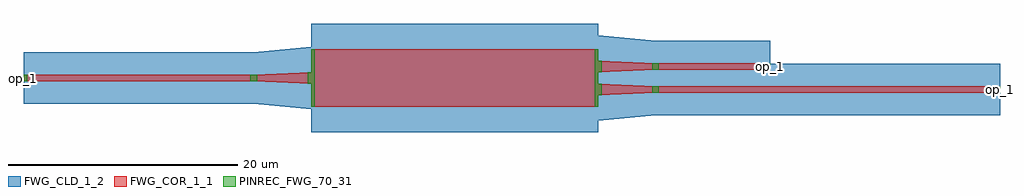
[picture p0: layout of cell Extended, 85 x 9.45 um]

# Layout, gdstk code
from math import pi, radians
import gdstk
lib = gdstk.Library(unit=1e-6, precision=1e-09)
def R(c, l, rs):  # rectangles x0, y0, x1, y1
    for r in rs: c.add(gdstk.rectangle(r[:2], r[2:], *l))
def P(c, l, *ps):  # polygons
    for p in ps: c.add(gdstk.Polygon(p, *l))
FWG_COR_1_1 = (1, 1)
FWG_CLD_1_2 = (1, 2)
PINREC_FWG_70_31 = (70, 31)

wg_x3 = lib.new_cell('wg_x3')
R(wg_x3, FWG_COR_1_1, [(0,-2.5,25,2.5)])
P(wg_x3, FWG_CLD_1_2, [(0,4.725),(25,4.725),(25,2.5),(25,-2.5),(25,-4.725),(0,-4.725),(0,-2.5),(0,2.5)])
R(wg_x3, PINREC_FWG_70_31, [(0,-2.5,0.3,2.5), (24.7,-2.5,25,2.5)])
wg_x3.add(gdstk.Label('op_0', (0,0), layer=70, texttype=41))
wg_x3.add(gdstk.Label('op_1', (25,0), layer=70, texttype=41))

straight_x2 = lib.new_cell('Straight_x2')
R(straight_x2, PINREC_FWG_70_31, [(0,-2.5,0.3,2.5), (24.7,-2.5,25,2.5)])
straight_x2.add(gdstk.Reference(wg_x3, (0,0)))
straight_x2.add(gdstk.Label('op_0', (0,0), layer=70, texttype=41))
straight_x2.add(gdstk.Label('op_1', (25,0), layer=70, texttype=41))

wg_x1 = lib.new_cell('wg_x1')
P(wg_x1, FWG_COR_1_1, [(-5,0.275),(0,0.5),(0,-0.5),(-5,-0.275)])
P(wg_x1, FWG_CLD_1_2, [(-5,2.225),(0,2.725),(0,0.5),(0,-0.5),(0,-2.725),(-5,-2.225),(-5,-0.275),(-5,0.275)])
R(wg_x1, PINREC_FWG_70_31, [(-0.3,-0.5,0,0.5), (-5,-0.275,-4.7,0.275)])
wg_x1.add(gdstk.Label('op_0', (-5,0), layer=70, texttype=41))
wg_x1.add(gdstk.Label('op_1', (0,0), layer=70, texttype=41))

taperlinear = lib.new_cell('TaperLinear')
R(taperlinear, PINREC_FWG_70_31, [(-0.3,-0.5,0,0.5), (-5,-0.275,-4.7,0.275)])
taperlinear.add(gdstk.Reference(wg_x1, (0,0)))
taperlinear.add(gdstk.Label('op_0', (-5,0), layer=70, texttype=41))
taperlinear.add(gdstk.Label('op_1', (0,0), layer=70, texttype=41))

wg_x2 = lib.new_cell('wg_x2')
P(wg_x2, FWG_COR_1_1, [(0,0.5),(5,0.275),(5,-0.275),(0,-0.5)])
P(wg_x2, FWG_CLD_1_2, [(0,2.725),(5,2.225),(5,0.275),(5,-0.275),(5,-2.225),(0,-2.725),(0,-0.5),(0,0.5)])
R(wg_x2, PINREC_FWG_70_31, [(0,-0.5,0.3,0.5), (4.7,-0.275,5,0.275)])
wg_x2.add(gdstk.Label('op_0', (0,0), layer=70, texttype=41))
wg_x2.add(gdstk.Label('op_1', (5,0), layer=70, texttype=41))

taperlinear_x1 = lib.new_cell('TaperLinear_x1')
R(taperlinear_x1, PINREC_FWG_70_31, [(0,-0.5,0.3,0.5), (4.7,-0.275,5,0.275)])
taperlinear_x1.add(gdstk.Reference(wg_x2, (0,0)))
taperlinear_x1.add(gdstk.Label('op_0', (0,0), layer=70, texttype=41))
taperlinear_x1.add(gdstk.Label('op_1', (5,0), layer=70, texttype=41))

mmi = lib.new_cell('Mmi')
R(mmi, PINREC_FWG_70_31, [(29.7,-1.275,30,-0.725), (-5,-0.275,-4.7,0.275), (29.7,0.725,30,1.275)])
mmi.add(gdstk.Reference(straight_x2, (0,0)))
mmi.add(gdstk.Reference(taperlinear, (0,0)))
mmi.add(gdstk.Reference(taperlinear_x1, (25,-1)))
mmi.add(gdstk.Reference(taperlinear_x1, (25,1)))
mmi.add(gdstk.Label('op_0', (-5,0), layer=70, texttype=41))
mmi.add(gdstk.Label('op_1', (30,-1), layer=70, texttype=41))
mmi.add(gdstk.Label('op_1', (30,1), layer=70, texttype=41))

wg_x4 = lib.new_cell('wg_x4')
R(wg_x4, FWG_COR_1_1, [(0,-0.275,20,0.275)])
P(wg_x4, FWG_CLD_1_2, [(0,2.225),(20,2.225),(20,0.275),(20,-0.275),(20,-2.225),(0,-2.225),(0,-0.275),(0,0.275)])
R(wg_x4, PINREC_FWG_70_31, [(0,-0.275,0.3,0.275), (19.7,-0.275,20,0.275)])
wg_x4.add(gdstk.Label('op_0', (0,0), layer=70, texttype=41))
wg_x4.add(gdstk.Label('op_1', (20,0), layer=70, texttype=41))

straight_x1 = lib.new_cell('Straight_x1')
R(straight_x1, PINREC_FWG_70_31, [(0,-0.275,0.3,0.275), (19.7,-0.275,20,0.275)])
straight_x1.add(gdstk.Reference(wg_x4, (0,0)))
straight_x1.add(gdstk.Label('op_0', (0,0), layer=70, texttype=41))
straight_x1.add(gdstk.Label('op_1', (20,0), layer=70, texttype=41))

c_wg = lib.new_cell('wg')
R(c_wg, FWG_COR_1_1, [(0,-0.275,30,0.275)])
P(c_wg, FWG_CLD_1_2, [(0,2.225),(30,2.225),(30,0.275),(30,-0.275),(30,-2.225),(0,-2.225),(0,-0.275),(0,0.275)])
R(c_wg, PINREC_FWG_70_31, [(0,-0.275,0.3,0.275), (29.7,-0.275,30,0.275)])
c_wg.add(gdstk.Label('op_0', (0,0), layer=70, texttype=41))
c_wg.add(gdstk.Label('op_1', (30,0), layer=70, texttype=41))

straight = lib.new_cell('Straight')
R(straight, PINREC_FWG_70_31, [(0,-0.275,0.3,0.275), (29.7,-0.275,30,0.275)])
straight.add(gdstk.Reference(c_wg, (0,0)))
straight.add(gdstk.Label('op_0', (0,0), layer=70, texttype=41))
straight.add(gdstk.Label('op_1', (30,0), layer=70, texttype=41))

wg_x5 = lib.new_cell('wg_x5')
R(wg_x5, FWG_COR_1_1, [(0,-0.275,10,0.275)])
P(wg_x5, FWG_CLD_1_2, [(0,2.225),(10,2.225),(10,0.275),(10,-0.275),(10,-2.225),(0,-2.225),(0,-0.275),(0,0.275)])
R(wg_x5, PINREC_FWG_70_31, [(0,-0.275,0.3,0.275), (9.7,-0.275,10,0.275)])
wg_x5.add(gdstk.Label('op_0', (0,0), layer=70, texttype=41))
wg_x5.add(gdstk.Label('op_1', (10,0), layer=70, texttype=41))

straight_x3 = lib.new_cell('Straight_x3')
R(straight_x3, PINREC_FWG_70_31, [(0,-0.275,0.3,0.275), (9.7,-0.275,10,0.275)])
straight_x3.add(gdstk.Reference(wg_x5, (0,0)))
straight_x3.add(gdstk.Label('op_0', (0,0), layer=70, texttype=41))
straight_x3.add(gdstk.Label('op_1', (10,0), layer=70, texttype=41))

connected = lib.new_cell('Connected')
R(connected, PINREC_FWG_70_31, [(59.7,-1.275,60,-0.725), (-25,-0.275,-24.7,0.275), (39.7,0.725,40,1.275)])
connected.add(gdstk.Reference(mmi, (0,0)))
connected.add(gdstk.Reference(straight_x1, (-5,0), rotation=pi))
connected.add(gdstk.Reference(straight, (30,-1)))
connected.add(gdstk.Reference(straight_x3, (30,1)))
connected.add(gdstk.Label('op_1', (-25,0), layer=70, texttype=41))
connected.add(gdstk.Label('op_1', (60,-1), layer=70, texttype=41))
connected.add(gdstk.Label('op_1', (40,1), layer=70, texttype=41))

extended = lib.new_cell('Extended')
R(extended, PINREC_FWG_70_31, [(59.7,-1.275,60,-0.725), (-25,-0.275,-24.7,0.275), (39.7,0.725,40,1.275)])
extended.add(gdstk.Reference(connected, (0,0)))
extended.add(gdstk.Label('op_1', (-25,0), layer=70, texttype=41))
extended.add(gdstk.Label('op_1', (60,-1), layer=70, texttype=41))
extended.add(gdstk.Label('op_1', (40,1), layer=70, texttype=41))

lib.write_gds('Extended.gds')
